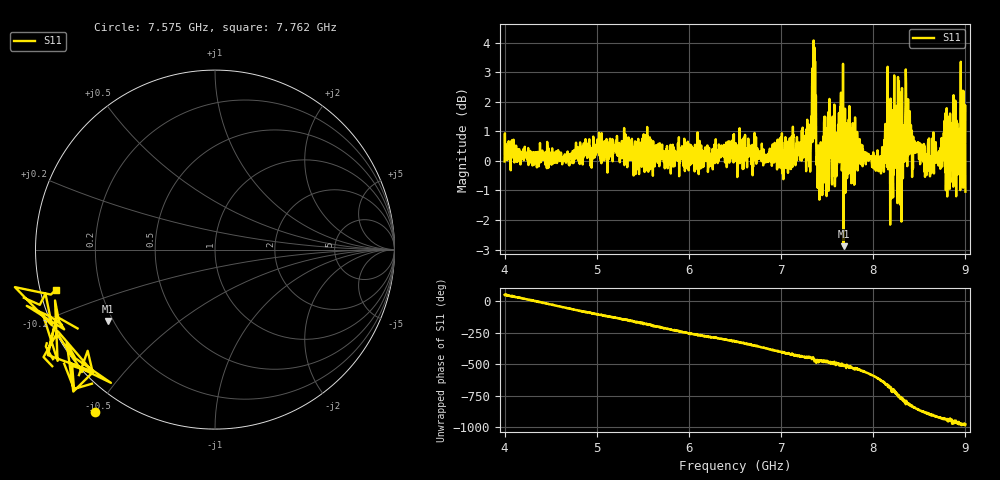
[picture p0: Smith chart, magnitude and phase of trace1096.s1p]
! Created with skrf 1.8.0 (http://scikit-rf.org).
# Hz S RI R 50.0
!freq ReS11 ImS11
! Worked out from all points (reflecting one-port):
!   1601 points, 4 GHz to 9 GHz, reference 50 ohm
!   lowest |S11| = -2.9 dB at 7.678 GHz (marker M1), VSWR 6.08, Z = 8.95 - j14.7 ohm
!   phase of S11 starts at 51 deg and turns -1031 deg over the sweep
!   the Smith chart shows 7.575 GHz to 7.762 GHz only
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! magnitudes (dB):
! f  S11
! 4 GHz  0.0
! 4.625 GHz  -0.1
! 5.25 GHz  0.0
! 5.875 GHz  0.2
! 6.5 GHz  0.4
! 7.125 GHz  0.7
! 7.297 GHz  0.4
! 7.316 GHz  -0.4
! 7.353 GHz  4.1
! 7.369 GHz  3.4
! 7.409 GHz  -0.9
! 7.512 GHz  1.6
! 7.591 GHz  1.0
! 7.65 GHz  2.3
! 7.678 GHz  -2.9
! 7.75 GHz  -0.2
! 8.075 GHz  -0.1
! 8.134 GHz  0.9
! 8.197 GHz  -1.3
! 8.253 GHz  0.6
! 8.312 GHz  2.5
! 8.338 GHz  0.0
! 8.375 GHz  0.3
! 8.556 GHz  -0.4
! 8.866 GHz  -0.2
! 8.919 GHz  -0.5
! 8.972 GHz  1.1
! 9 GHz  -1.0
